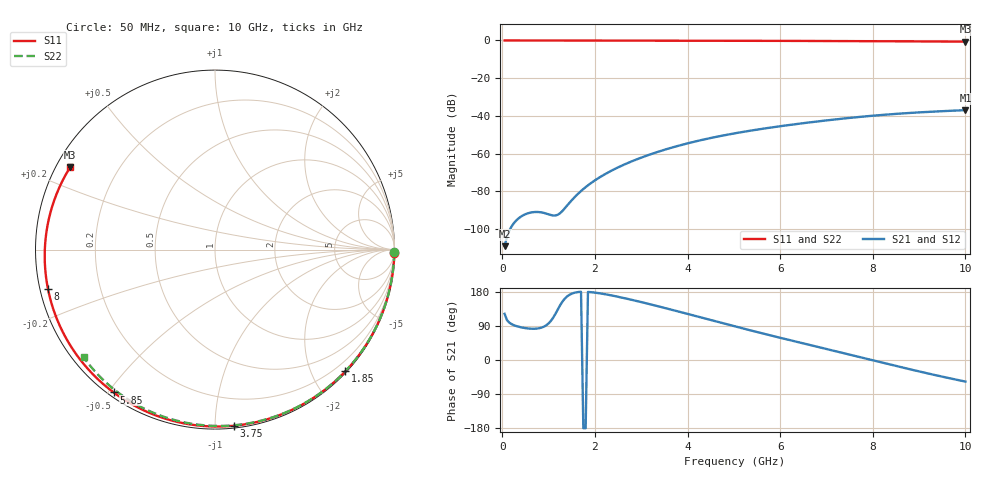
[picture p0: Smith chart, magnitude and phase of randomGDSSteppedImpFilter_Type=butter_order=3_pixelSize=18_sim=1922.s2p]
! freq	dB(S11)	phase(S11)	dB(S12)	phase(S12)
!  dB(S21)	phase(S21)	dB(S22)	phase(S22)
!S-par simulation data
#  GHz  S  DB  R 50
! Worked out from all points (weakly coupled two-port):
!   200 points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, 50 MHz to 10 GHz, reference 50 ohm
!   highest |S21| = -36.92 dB at 10 GHz (marker M1); lowest = -109.0 dB at 50 MHz (marker M2)
!   lowest |S11| = -0.6 dB at 10 GHz (marker M3), VSWR 26.97, Z = 1.98 + j13.2 ohm
!   |S11| at or under -10 dB: nowhere
!   |S22| runs from -0.5 to 0.0 dB; largest |S21 - S12| = 0
!   S11 on the Smith chart (normalised r, x): 50 MHz: open; 1.85 GHz: 0.02, -2.54; 3.75 GHz: 0.01, -1.11; 5.85 GHz: 0.02, -0.52; 8 GHz: 0.02, -0.12; 10 GHz: 0.04, +0.26
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0.05  -0.00 -1.2  -109.00 121.8  -109.00 121.8  -0.00 -0.8
0.8  -0.02 -18.9  -90.95 84.0  -90.95 84.0  -0.02 -13.0
1.2  -0.04 -28.2  -92.33 133.7  -92.33 133.7  -0.02 -19.4
1.65  -0.05 -38.5  -80.90 179.5  -80.90 179.5  -0.03 -26.6
1.7  -0.05 -39.6  -79.78 180.0  -79.78 180.0  -0.03 -27.3
1.75  -0.05 -40.8  -78.72 -179.9  -78.72 -179.9  -0.04 -28.1
1.85  -0.05 -43.0  -76.75 179.7  -76.75 179.7  -0.04 -29.7
2.15  -0.06 -49.7  -71.81 175.1  -71.81 175.1  -0.04 -34.4
2.5  -0.07 -57.5  -67.26 166.8  -67.26 166.8  -0.05 -39.8
2.9  -0.09 -66.1  -63.02 155.8  -63.02 155.8  -0.06 -45.9
3.4  -0.10 -76.7  -58.71 140.7  -58.71 140.7  -0.07 -53.5
3.75  -0.11 -84.0  -56.16 129.7  -56.16 129.7  -0.08 -58.6
4.4  -0.14 -97.1  -52.21 108.7  -52.21 108.7  -0.10 -68.1
5.05  -0.17 -109.9  -49.07 87.8  -49.07 87.8  -0.12 -77.2
5.85  -0.21 -125.3  -45.96 63.2  -45.96 63.2  -0.15 -88.2
6.7  -0.27 -141.5  -43.23 37.9  -43.23 37.9  -0.19 -99.4
7.35  -0.33 -154.0  -41.42 18.7  -41.42 18.7  -0.23 -107.7
8  -0.39 -166.7  -39.88 -0.7  -39.88 -0.7  -0.28 -115.9
8.35  -0.43 -173.7  -39.18 -11.2  -39.18 -11.2  -0.31 -120.3
9.2  -0.53 168.5  -37.84 -35.8  -37.84 -35.8  -0.39 -130.8
9.6  -0.59 159.6  -37.36 -46.6  -37.36 -46.6  -0.43 -135.7
10  -0.64 150.4  -36.92 -56.9  -36.92 -56.9  -0.48 -140.6
